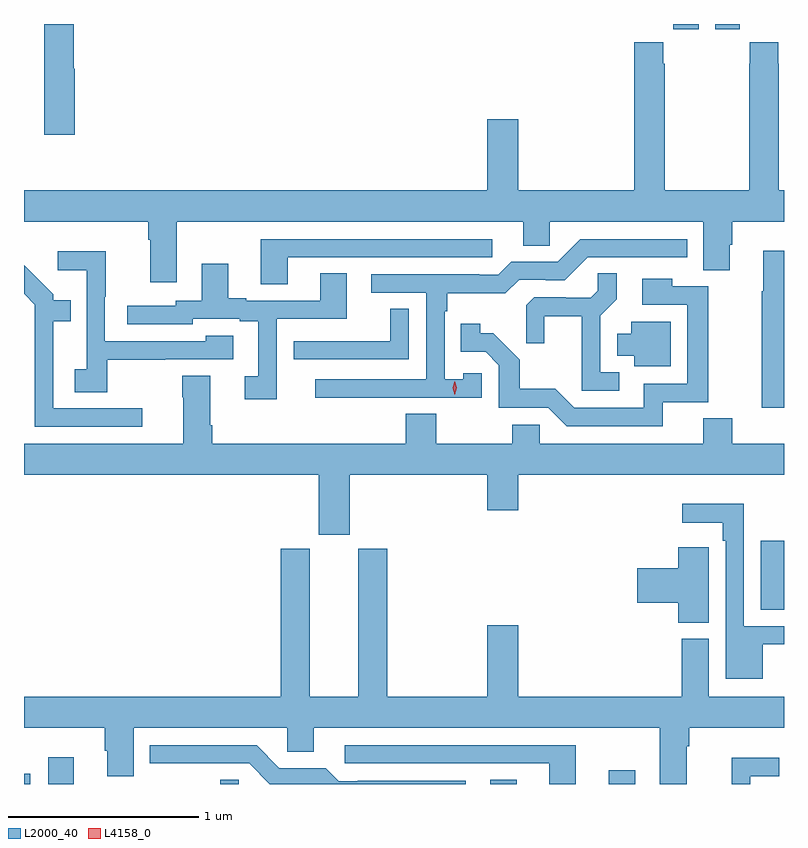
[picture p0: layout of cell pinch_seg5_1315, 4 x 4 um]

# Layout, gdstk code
import gdstk
lib = gdstk.Library(unit=1e-6, precision=1e-09)
def R(c, l, rs):  # rectangles x0, y0, x1, y1
    for r in rs: c.add(gdstk.rectangle(r[:2], r[2:], *l))
def P(c, l, *ps):  # polygons
    for p in ps: c.add(gdstk.Polygon(p, *l))
L2000_40 = (2000, 40)
L4158_0 = (4158, 0)

pinch_seg5_1315 = lib.new_cell('pinch_seg5_1315')
R(pinch_seg5_1315, L2000_40, [(306.426,903.084,306.459,903.139), (306.554,903.084,306.688,903.226), (307.459,903.084,307.557,903.107), (308.879,903.084,309.019,903.107), (309.503,903.084,309.643,903.157), (310.304,904,310.426,904.363), (309.842,907.056,309.976,907.084), (310.064,907.056,310.194,907.084)])
P(pinch_seg5_1315, L2000_40, [(306.694,906.849),(306.689,906.849),(306.689,907.084),(306.533,907.084),(306.533,906.501),(306.694,906.501)],
  [(307.231,906.044),(309.053,906.044),(309.053,905.917),(309.192,905.917),(309.192,906.044),(310.001,906.044),(310.001,905.788),(310.141,905.788),(310.141,905.922),(310.154,905.922),(310.154,906.044),(310.426,906.044),(310.426,906.208),(310.398,906.208),(310.398,906.875),(310.395,906.875),(310.395,906.988),(310.245,906.988),(310.245,906.875),(310.243,906.875),(310.243,906.208),(309.798,906.208),(309.798,906.875),(309.791,906.875),(309.791,906.988),(309.638,906.988),(309.638,906.208),(309.028,906.208),(309.028,906.583),(308.864,906.583),(308.864,906.208),(306.426,906.208),(306.426,906.044),(307.079,906.044),(307.079,905.948),(307.091,905.948),(307.091,905.724),(307.231,905.724)],
  [(307.813,905.856),(308.89,905.856),(308.89,905.952),(307.673,905.952),(307.673,905.713),(307.813,905.713)],
  [(308.351,905.118),(308.835,905.118),(308.835,905.247),(308.739,905.247),(308.739,905.215),(308.64,905.215),(308.64,905.573),(308.653,905.573),(308.653,905.666),(308.96,905.666),(309.033,905.739),(309.172,905.739),(309.172,905.736),(309.273,905.736),(309.393,905.856),(309.916,905.856),(309.916,905.952),(309.354,905.952),(309.234,905.832),(308.991,905.832),(308.922,905.763),(308.822,905.763),(308.822,905.766),(308.253,905.766),(308.253,905.67),(308.544,905.67),(308.544,905.214),(307.959,905.214),(307.959,905.116),(308.351,905.116)],
  [(310.426,905.89),(310.316,905.89),(310.316,905.677),(310.309,905.677),(310.309,905.064),(310.426,905.064)],
  [(306.865,905.317),(307.169,905.317),(307.169,905.319),(307.528,905.319),(307.528,905.443),(307.383,905.443),(307.383,905.415),(306.852,905.415),(306.852,905.648),(306.855,905.648),(306.855,905.887),(306.603,905.887),(306.603,905.789),(306.756,905.789),(306.756,905.268),(306.693,905.268),(306.693,905.146),(306.865,905.146)],
  [(307.755,905.532),(308.125,905.532),(308.125,905.771),(307.985,905.771),(307.985,905.628),(307.597,905.628),(307.597,905.641),(307.501,905.641),(307.501,905.821),(307.361,905.821),(307.361,905.628),(307.224,905.628),(307.224,905.601),(306.969,905.601),(306.969,905.505),(307.314,905.505),(307.314,905.532),(307.562,905.532),(307.562,905.52),(307.658,905.52),(307.658,905.229),(307.587,905.229),(307.587,905.109),(307.755,905.109)],
  [(307.048,905.061),(306.58,905.061),(306.58,905.52),(306.671,905.52),(306.671,905.629),(306.579,905.629),(306.579,905.661),(306.426,905.814),(306.426,905.664),(306.483,905.607),(306.483,904.965),(307.048,904.965)],
  [(309.559,905.25),(309.459,905.25),(309.459,905.549),(309.545,905.635),(309.545,905.771),(309.447,905.771),(309.447,905.68),(309.41,905.643),(309.276,905.643),(309.276,905.646),(309.111,905.646),(309.07,905.605),(309.07,905.403),(309.164,905.403),(309.164,905.546),(309.362,905.546),(309.362,905.154),(309.559,905.154)],
  [(309.788,905.094),(310.027,905.094),(310.027,905.703),(309.837,905.703),(309.837,905.743),(309.681,905.743),(309.681,905.607),(309.918,905.607),(309.918,905.19),(309.689,905.19),(309.689,905.064),(309.321,905.064),(309.223,905.163),(309.034,905.163),(309.034,905.318),(308.896,905.456),(308.826,905.456),(308.826,905.506),(308.725,905.506),(308.725,905.358),(308.856,905.358),(308.925,905.289),(308.925,905.064),(309.186,905.064),(309.282,904.968),(309.788,904.968)],
  [(308.451,905.585),(308.353,905.585),(308.353,905.415),(307.957,905.415),(307.957,905.414),(307.845,905.414),(307.845,905.319),(308.451,905.319)],
  [(309.829,905.518),(309.623,905.518),(309.623,905.455),(309.548,905.455),(309.548,905.339),(309.638,905.339),(309.638,905.282),(309.829,905.282)],
  [(308.14,904.712),(308.864,904.712),(308.864,904.524),(309.028,904.524),(309.028,904.712),(310.426,904.712),(310.426,904.876),(310.154,904.876),(310.154,905.009),(310.001,905.009),(310.001,904.876),(309.141,904.876),(309.141,904.974),(308.995,904.974),(308.995,904.876),(308.595,904.876),(308.595,905.033),(308.435,905.033),(308.435,904.876),(307.418,904.876),(307.418,904.972),(307.405,904.972),(307.405,905.233),(307.258,905.233),(307.258,905.12),(307.265,905.12),(307.265,904.876),(306.426,904.876),(306.426,904.712),(307.976,904.712),(307.976,904.395),(308.14,904.395)],
  [(310.315,903.819),(310.426,903.819),(310.426,903.915),(310.215,903.915),(310.215,904.558),(309.891,904.558),(309.891,904.46),(310.103,904.46),(310.103,904.364),(310.119,904.364),(310.119,903.638),(310.315,903.638)],
  [(310.03,904.217),(310.029,904.217),(310.029,904.33),(309.869,904.33),(309.869,904.22),(309.654,904.22),(309.654,904.037),(309.869,904.037),(309.869,903.934),(310.03,903.934)],
  [(309.913,903.284),(309.926,903.284),(309.926,903.38),(310.426,903.38),(310.426,903.544),(310.03,903.544),(310.03,903.849),(309.887,903.849),(309.887,903.544),(309.028,903.544),(309.028,903.919),(308.864,903.919),(308.864,903.544),(308.339,903.544),(308.339,904.323),(308.186,904.323),(308.186,903.544),(307.93,903.544),(307.93,904.323),(307.778,904.323),(307.778,903.544),(306.426,903.544),(306.426,903.38),(306.851,903.38),(306.851,903.258),(306.863,903.258),(306.863,903.124),(307.003,903.124),(307.003,903.38),(307.812,903.38),(307.812,903.253),(307.951,903.253),(307.951,903.38),(309.773,903.38),(309.773,903.084),(309.913,903.084)],
  [(308.752,903.102),(308.182,903.102),(308.182,903.099),(308.082,903.099),(308.013,903.168),(307.77,903.168),(307.65,903.288),(307.088,903.288),(307.088,903.192),(307.611,903.192),(307.719,903.084),(308.752,903.084)],
  [(309.331,903.288),(308.115,903.288),(308.115,903.192),(309.191,903.192),(309.191,903.084),(309.331,903.084)],
  [(310.248,903.125),(310.402,903.125),(310.402,903.223),(310.15,903.223),(310.15,903.084),(310.248,903.084)])
P(pinch_seg5_1315, L4158_0, [(308.693,905.133),(308.683,905.169),(308.692,905.205),(308.692,905.205),(308.692,905.205),(308.703,905.17),(308.694,905.133),(308.694,905.133)])

lib.write_gds('pinch_seg5_1315.gds')
